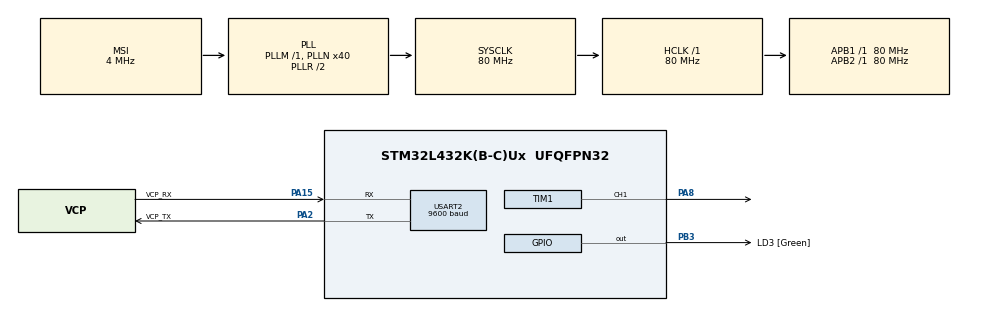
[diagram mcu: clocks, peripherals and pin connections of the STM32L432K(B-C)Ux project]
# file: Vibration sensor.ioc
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Mcu.Family=STM32L4
Mcu.Name=STM32L432K(B-C)Ux
Mcu.Package=UFQFPN32
NVIC.PriorityGroup=NVIC_PRIORITYGROUP_4
PA0.GPIO_Label=MCO [High speed clock in]
PA0.Mode=HSE-External-Clock-Source-for-LittleOrca
PA0.Signal=RCC_CK_IN
PA13\ (JTMS-SWDIO).GPIO_Label=SWDIO
PA13\ (JTMS-SWDIO).Mode=Serial_Wire
PA13\ (JTMS-SWDIO).Signal=SYS_JTMS-SWDIO
PA14\ (JTCK-SWCLK).GPIO_Label=SWCLK
PA14\ (JTCK-SWCLK).Mode=Serial_Wire
PA14\ (JTCK-SWCLK).Signal=SYS_JTCK-SWCLK
PA15\ (JTDI).GPIO_Label=VCP_RX
PA15\ (JTDI).Mode=Asynchronous
PA15\ (JTDI).Signal=USART2_RX
PA2.GPIO_Label=VCP_TX
PA2.Mode=Asynchronous
PA2.Signal=USART2_TX
PA8.Signal=S_TIM1_CH1
PB3\ (JTDO-TRACESWO).GPIO_Label=LD3 [Green]
PB3\ (JTDO-TRACESWO).Signal=GPIO_Output
PC14-OSC32_IN\ (PC14).Mode=LSE-External-Oscillator
PC14-OSC32_IN\ (PC14).Signal=RCC_OSC32_IN
PC15-OSC32_OUT\ (PC15).Mode=LSE-External-Oscillator
PC15-OSC32_OUT\ (PC15).Signal=RCC_OSC32_OUT
ProjectManager.HeapSize=0x200
ProjectManager.StackSize=0x400
ProjectManager.TargetToolchain=STM32CubeIDE
RCC.AHBFreq_Value=80000000
RCC.APB1Freq_Value=80000000
RCC.APB1TimFreq_Value=80000000
RCC.APB2Freq_Value=80000000
RCC.APB2TimFreq_Value=80000000
RCC.CortexFreq_Value=80000000
RCC.HCLKFreq_Value=80000000
RCC.HSE_VALUE=8000000
RCC.HSI16_VALUE=16000000
RCC.HSI48_VALUE=48000000
RCC.HSI_VALUE=16000000
RCC.MSI_VALUE=4000000
RCC.PLLMUL=RCC_PLLMUL_4
RCC.PLLN=40
RCC.SYSCLKFreq_VALUE=80000000
RCC.SYSCLKSource=RCC_SYSCLKSOURCE_PLLCLK
RCC.VCOOutputFreq_Value=160000000
SH.S_TIM1_CH1.0=TIM1_CH1,PWM Generation1 CH1
TIM1.Channel-PWM\ Generation1\ CH1=TIM_CHANNEL_1
TIM1.Period=999
TIM1.Prescaler=79
TIM1.Pulse-PWM\ Generation1\ CH1=1000
USART2.BaudRate=9600
USART2.VirtualMode-Asynchronous=VM_ASYNC
board=NUCLEO-L432KC

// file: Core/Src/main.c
/* USER CODE BEGIN Header */
/**
  ******************************************************************************
  * @file           : main.c
  * @brief          : Main program body
  ******************************************************************************
  * @attention
  *
  * Copyright (c) 2026 STMicroelectronics.
  * All rights reserved.
  *
  * This software is licensed under terms that can be found in the LICENSE file
  * in the root directory of this software component.
  * If no LICENSE file comes with this software, it is provided AS-IS.
  *
  ******************************************************************************
  */
/* USER CODE END Header */
#include "main.h"

/* USER CODE BEGIN Includes */
#include <string.h>
#include <stdlib.h>
#include <stdio.h>
/* USER CODE END Includes */

TIM_HandleTypeDef htim1;

UART_HandleTypeDef huart2;

void SystemClock_Config(void);
static void MX_GPIO_Init(void);
static void MX_TIM1_Init(void);
static void MX_USART2_UART_Init(void);

/* USER CODE BEGIN 0 */
void SetVibration(uint16_t percent)
{
    if (percent > 100) percent = 100;

    uint16_t pulse;

    if (percent == 0)
    {
        pulse = 0;
    }
    else
    {

        uint16_t MIN_PULSE = 500;
        uint16_t MAX_PULSE = 1000;
        pulse = MIN_PULSE + ((percent * (MAX_PULSE - MIN_PULSE)) / 100);
    }

    __HAL_TIM_SET_COMPARE(&htim1, TIM_CHANNEL_1, pulse);
}

void UART_Print(const char *msg)
{
    HAL_UART_Transmit(&huart2, (uint8_t*)msg, strlen(msg), 100);
}
/* USER CODE END 0 */

int main(void)
{

  /* MCU Configuration--------------------------------------------------------*/

  /* Reset of all peripherals, Initializes the Flash interface and the Systick. */
  HAL_Init();

  /* Configure the system clock */
  SystemClock_Config();

  /* Initialize all configured peripherals */
  MX_GPIO_Init();
  MX_TIM1_Init();
  MX_USART2_UART_Init();
  /* USER CODE BEGIN 2 */
  HAL_TIM_PWM_Start(&htim1, TIM_CHANNEL_1);
  SetVibration(0);
  UART_Print("Typ 0-100 + Enter:\r\n");
  /* USER CODE END 2 */

  /* Infinite loop */
  /* USER CODE BEGIN WHILE */
  while (1)
  {
	    char rx_buf[8] = {0};
	    uint8_t rx_idx = 0;
	    uint8_t rx_byte;

	    // Lees bytes totdat Enter binnenkomt
	    while (1)
	    {
	        HAL_UART_Receive(&huart2, &rx_byte, 1, HAL_MAX_DELAY);
	        HAL_UART_Transmit(&huart2, &rx_byte, 1, 100);  // echo
	        if (rx_byte == '\r' || rx_byte == '\n') break;
	        if (rx_idx < 7) rx_buf[rx_idx++] = rx_byte;
	    }

	    // Verwerk invoer
	    int val = atoi(rx_buf);
	    char antwoord[40];
	    if (rx_idx > 0 && val >= 0 && val <= 100)
	    {
	        SetVibration((uint16_t)val);
	        sprintf(antwoord, "Vibratie: %d%%\r\n", val);
	    }
	    else
	    {
	        sprintf(antwoord, "Fout: typ 0-100\r\n");
	    }
	    UART_Print(antwoord);
    /* USER CODE END WHILE */

  }
}

void SystemClock_Config(void)
{
  RCC_OscInitTypeDef RCC_OscInitStruct = {0};
  RCC_ClkInitTypeDef RCC_ClkInitStruct = {0};

  /** Configure the main internal regulator output voltage
  */
  if (HAL_PWREx_ControlVoltageScaling(PWR_REGULATOR_VOLTAGE_SCALE1) != HAL_OK)
  {
    Error_Handler();
  }

  /** Configure LSE Drive Capability
  */
  HAL_PWR_EnableBkUpAccess();
  __HAL_RCC_LSEDRIVE_CONFIG(RCC_LSEDRIVE_LOW);

  /** Initializes the RCC Oscillators according to the specified parameters
  * in the RCC_OscInitTypeDef structure.
  */
  RCC_OscInitStruct.OscillatorType = RCC_OSCILLATORTYPE_LSE|RCC_OSCILLATORTYPE_MSI;
  RCC_OscInitStruct.LSEState = RCC_LSE_ON;
  RCC_OscInitStruct.MSIState = RCC_MSI_ON;
  RCC_OscInitStruct.MSICalibrationValue = 0;
  RCC_OscInitStruct.MSIClockRange = RCC_MSIRANGE_6;
  RCC_OscInitStruct.PLL.PLLState = RCC_PLL_ON;
  RCC_OscInitStruct.PLL.PLLSource = RCC_PLLSOURCE_MSI;
  RCC_OscInitStruct.PLL.PLLM = 1;
  RCC_OscInitStruct.PLL.PLLN = 40;
  RCC_OscInitStruct.PLL.PLLP = RCC_PLLP_DIV7;
  RCC_OscInitStruct.PLL.PLLQ = RCC_PLLQ_DIV2;
  RCC_OscInitStruct.PLL.PLLR = RCC_PLLR_DIV2;
  if (HAL_RCC_OscConfig(&RCC_OscInitStruct) != HAL_OK)
  {
    Error_Handler();
  }

  /** Initializes the CPU, AHB and APB buses clocks
  */
  RCC_ClkInitStruct.ClockType = RCC_CLOCKTYPE_HCLK|RCC_CLOCKTYPE_SYSCLK
                              |RCC_CLOCKTYPE_PCLK1|RCC_CLOCKTYPE_PCLK2;
  RCC_ClkInitStruct.SYSCLKSource = RCC_SYSCLKSOURCE_PLLCLK;
  RCC_ClkInitStruct.AHBCLKDivider = RCC_SYSCLK_DIV1;
  RCC_ClkInitStruct.APB1CLKDivider = RCC_HCLK_DIV1;
  RCC_ClkInitStruct.APB2CLKDivider = RCC_HCLK_DIV1;

  if (HAL_RCC_ClockConfig(&RCC_ClkInitStruct, FLASH_LATENCY_4) != HAL_OK)
  {
    Error_Handler();
  }

  /** Enable MSI Auto calibration
  */
  HAL_RCCEx_EnableMSIPLLMode();
}

static void MX_TIM1_Init(void)
{

  TIM_MasterConfigTypeDef sMasterConfig = {0};
  TIM_OC_InitTypeDef sConfigOC = {0};
  TIM_BreakDeadTimeConfigTypeDef sBreakDeadTimeConfig = {0};

  htim1.Instance = TIM1;
  htim1.Init.Prescaler = 79;
  htim1.Init.CounterMode = TIM_COUNTERMODE_UP;
  htim1.Init.Period = 999;
  htim1.Init.ClockDivision = TIM_CLOCKDIVISION_DIV1;
  htim1.Init.RepetitionCounter = 0;
  htim1.Init.AutoReloadPreload = TIM_AUTORELOAD_PRELOAD_DISABLE;
  if (HAL_TIM_PWM_Init(&htim1) != HAL_OK)
  {
    Error_Handler();
  }
  sMasterConfig.MasterOutputTrigger = TIM_TRGO_RESET;
  sMasterConfig.MasterOutputTrigger2 = TIM_TRGO2_RESET;
  sMasterConfig.MasterSlaveMode = TIM_MASTERSLAVEMODE_DISABLE;
  if (HAL_TIMEx_MasterConfigSynchronization(&htim1, &sMasterConfig) != HAL_OK)
  {
    Error_Handler();
  }
  sConfigOC.OCMode = TIM_OCMODE_PWM1;
  sConfigOC.Pulse = 1000;
  sConfigOC.OCPolarity = TIM_OCPOLARITY_HIGH;
  sConfigOC.OCNPolarity = TIM_OCNPOLARITY_HIGH;
  sConfigOC.OCFastMode = TIM_OCFAST_DISABLE;
  sConfigOC.OCIdleState = TIM_OCIDLESTATE_RESET;
  sConfigOC.OCNIdleState = TIM_OCNIDLESTATE_RESET;
  if (HAL_TIM_PWM_ConfigChannel(&htim1, &sConfigOC, TIM_CHANNEL_1) != HAL_OK)
  {
    Error_Handler();
  }
  sBreakDeadTimeConfig.OffStateRunMode = TIM_OSSR_DISABLE;
  sBreakDeadTimeConfig.OffStateIDLEMode = TIM_OSSI_DISABLE;
  sBreakDeadTimeConfig.LockLevel = TIM_LOCKLEVEL_OFF;
  sBreakDeadTimeConfig.DeadTime = 0;
  sBreakDeadTimeConfig.BreakState = TIM_BREAK_DISABLE;
  sBreakDeadTimeConfig.BreakPolarity = TIM_BREAKPOLARITY_HIGH;
  sBreakDeadTimeConfig.BreakFilter = 0;
  sBreakDeadTimeConfig.Break2State = TIM_BREAK2_DISABLE;
  sBreakDeadTimeConfig.Break2Polarity = TIM_BREAK2POLARITY_HIGH;
  sBreakDeadTimeConfig.Break2Filter = 0;
  sBreakDeadTimeConfig.AutomaticOutput = TIM_AUTOMATICOUTPUT_DISABLE;
  if (HAL_TIMEx_ConfigBreakDeadTime(&htim1, &sBreakDeadTimeConfig) != HAL_OK)
  {
    Error_Handler();
  }
  HAL_TIM_MspPostInit(&htim1);

}

static void MX_USART2_UART_Init(void)
{

  huart2.Instance = USART2;
  huart2.Init.BaudRate = 9600;
  huart2.Init.WordLength = UART_WORDLENGTH_8B;
  huart2.Init.StopBits = UART_STOPBITS_1;
  huart2.Init.Parity = UART_PARITY_NONE;
  huart2.Init.Mode = UART_MODE_TX_RX;
  huart2.Init.HwFlowCtl = UART_HWCONTROL_NONE;
  huart2.Init.OverSampling = UART_OVERSAMPLING_16;
  huart2.Init.OneBitSampling = UART_ONE_BIT_SAMPLE_DISABLE;
  huart2.AdvancedInit.AdvFeatureInit = UART_ADVFEATURE_NO_INIT;
  if (HAL_UART_Init(&huart2) != HAL_OK)
  {
    Error_Handler();
  }

}

static void MX_GPIO_Init(void)
{
  GPIO_InitTypeDef GPIO_InitStruct = {0};

  /* GPIO Ports Clock Enable */
  __HAL_RCC_GPIOC_CLK_ENABLE();
  __HAL_RCC_GPIOA_CLK_ENABLE();
  __HAL_RCC_GPIOB_CLK_ENABLE();

  /*Configure GPIO pin Output Level */
  HAL_GPIO_WritePin(LD3_GPIO_Port, LD3_Pin, GPIO_PIN_RESET);

  /*Configure GPIO pin : LD3_Pin */
  GPIO_InitStruct.Pin = LD3_Pin;
  GPIO_InitStruct.Mode = GPIO_MODE_OUTPUT_PP;
  GPIO_InitStruct.Pull = GPIO_NOPULL;
  GPIO_InitStruct.Speed = GPIO_SPEED_FREQ_LOW;
  HAL_GPIO_Init(LD3_GPIO_Port, &GPIO_InitStruct);

}

void Error_Handler(void)
{
  __disable_irq();
  while (1)
  {
  }
}
